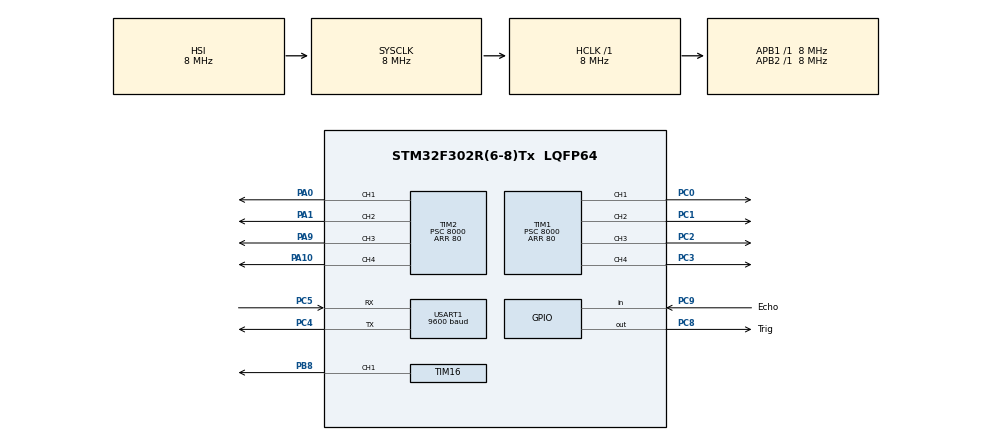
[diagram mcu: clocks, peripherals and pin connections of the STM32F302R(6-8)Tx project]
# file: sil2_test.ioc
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Mcu.Family=STM32F3
Mcu.Name=STM32F302R(6-8)Tx
Mcu.Package=LQFP64
NVIC.PriorityGroup=NVIC_PRIORITYGROUP_4
PA0.Signal=S_TIM2_CH1_ETR
PA1.Signal=S_TIM2_CH2
PA10.Signal=S_TIM2_CH4
PA9.Signal=S_TIM2_CH3
PB8.Signal=S_TIM16_CH1
PC0.Signal=S_TIM1_CH1
PC1.Signal=S_TIM1_CH2
PC2.Signal=S_TIM1_CH3
PC3.Signal=S_TIM1_CH4
PC4.Mode=Asynchronous
PC4.Signal=USART1_TX
PC5.Mode=Asynchronous
PC5.Signal=USART1_RX
PC8.GPIO_Label=Trig
PC8.Signal=GPIO_Output
PC9.GPIO_Label=Echo
PC9.Signal=GPIO_Input
ProjectManager.HeapSize=0x200
ProjectManager.StackSize=0x400
ProjectManager.TargetToolchain=STM32CubeIDE
RCC.AHBFreq_Value=8000000
RCC.APB1Freq_Value=8000000
RCC.APB2Freq_Value=8000000
RCC.CortexFreq_Value=8000000
RCC.HSE_VALUE=8000000
RCC.HSI_VALUE=8000000
RCC.LSE_VALUE=32768
RCC.SYSCLKFreq_VALUE=8000000
SH.S_TIM16_CH1.0=TIM16_CH1,PWM Generation1 CH1
SH.S_TIM1_CH1.0=TIM1_CH1,PWM Generation1 CH1
SH.S_TIM1_CH2.0=TIM1_CH2,PWM Generation2 CH2
SH.S_TIM1_CH3.0=TIM1_CH3,PWM Generation3 CH3
SH.S_TIM1_CH4.0=TIM1_CH4,PWM Generation4 CH4
SH.S_TIM2_CH1_ETR.0=TIM2_CH1,PWM Generation1 CH1
SH.S_TIM2_CH2.0=TIM2_CH2,PWM Generation2 CH2
SH.S_TIM2_CH3.0=TIM2_CH3,PWM Generation3 CH3
SH.S_TIM2_CH4.0=TIM2_CH4,PWM Generation4 CH4
TIM1.Channel-PWM\ Generation1\ CH1=TIM_CHANNEL_1
TIM1.Channel-PWM\ Generation2\ CH2=TIM_CHANNEL_2
TIM1.Channel-PWM\ Generation3\ CH3=TIM_CHANNEL_3
TIM1.Channel-PWM\ Generation4\ CH4=TIM_CHANNEL_4
TIM1.Period=80
TIM1.Prescaler=8000
TIM15.Prescaler=7
TIM16.Channel=TIM_CHANNEL_1
TIM16.Period=1000
TIM16.Prescaler=159
TIM2.Channel-PWM\ Generation1\ CH1=TIM_CHANNEL_1
TIM2.Channel-PWM\ Generation2\ CH2=TIM_CHANNEL_2
TIM2.Channel-PWM\ Generation3\ CH3=TIM_CHANNEL_3
TIM2.Channel-PWM\ Generation4\ CH4=TIM_CHANNEL_4
TIM2.Period=80
TIM2.Prescaler=8000
USART1.BaudRate=9600
USART1.VirtualMode-Asynchronous=VM_ASYNC
VP_TIM15_VS_ClockSourceINT.Mode=Internal
VP_TIM16_VS_ClockSourceINT.Mode=Enable_Timer
VP_TIM1_VS_ClockSourceINT.Mode=Internal
VP_TIM2_VS_ClockSourceINT.Mode=Internal
board=custom

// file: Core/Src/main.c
/* USER CODE BEGIN Header */
/**
 ******************************************************************************
 * @file           : main.c
 * @brief          : Main program body
 ******************************************************************************
 * @attention
 *
 * Copyright (c) 2024 STMicroelectronics.
 * All rights reserved.
 *
 * This software is licensed under terms that can be found in the LICENSE file
 * in the root directory of this software component.
 * If no LICENSE file comes with this software, it is provided AS-IS.
 *
 ******************************************************************************
 */
/* USER CODE END Header */
#include "main.h"

TIM_HandleTypeDef htim1;
TIM_HandleTypeDef htim2;
TIM_HandleTypeDef htim15;
TIM_HandleTypeDef htim16;

UART_HandleTypeDef huart1;

void SystemClock_Config(void);
static void MX_GPIO_Init(void);
static void MX_TIM2_Init(void);
static void MX_TIM1_Init(void);
static void MX_TIM16_Init(void);
static void MX_USART1_UART_Init(void);
static void MX_TIM15_Init(void);

/* USER CODE BEGIN 0 */
void delay_us(uint32_t us) {
	uint32_t start = __HAL_TIM_GET_COUNTER(&htim15);
	while ((__HAL_TIM_GET_COUNTER(&htim15) - start) < us)
		;
}
uint32_t local_time, sensor_time, distance;

uint32_t hcsr04_read() {
	HAL_GPIO_WritePin(Trig_GPIO_Port, Trig_Pin, GPIO_PIN_RESET);
	delay_us(2);
	HAL_GPIO_WritePin(Trig_GPIO_Port, Trig_Pin, GPIO_PIN_SET);
	delay_us(10);
	HAL_GPIO_WritePin(Trig_GPIO_Port, Trig_Pin, GPIO_PIN_RESET);
	while (HAL_GPIO_ReadPin(Echo_GPIO_Port, Echo_Pin) == GPIO_PIN_RESET)
		;
	local_time = __HAL_TIM_GET_COUNTER(&htim15);
	while (HAL_GPIO_ReadPin(Echo_GPIO_Port, Echo_Pin) == GPIO_PIN_SET)
		;
	sensor_time = __HAL_TIM_GET_COUNTER(&htim15) - local_time;
	return sensor_time * 0.0340 / 2;
}

/* USER CODE END 0 */

int main(void) {

	/* MCU Configuration--------------------------------------------------------*/

	/* Reset of all peripherals, Initializes the Flash interface and the Systick. */
	HAL_Init();

	/* Configure the system clock */
	SystemClock_Config();

	/* Initialize all configured peripherals */
	MX_GPIO_Init();
	MX_TIM2_Init();
	MX_TIM1_Init();
	MX_TIM16_Init();
	MX_USART1_UART_Init();
	MX_TIM15_Init();
	/* USER CODE BEGIN 2 */
	HAL_TIM_PWM_Start(&htim1, TIM_CHANNEL_1);
	HAL_TIM_PWM_Start(&htim1, TIM_CHANNEL_2);
	HAL_TIM_PWM_Start(&htim1, TIM_CHANNEL_3);
	HAL_TIM_PWM_Start(&htim1, TIM_CHANNEL_4);

	HAL_TIM_PWM_Start(&htim2, TIM_CHANNEL_1);
	HAL_TIM_PWM_Start(&htim2, TIM_CHANNEL_2);
	HAL_TIM_PWM_Start(&htim2, TIM_CHANNEL_3);
	HAL_TIM_PWM_Start(&htim2, TIM_CHANNEL_4);
	HAL_TIM_PWM_Start(&htim16, TIM_CHANNEL_1);

	// __HAL_TIM_SET_COMPARE(&htim1,TIM_CHANNEL_3,0);
	//__HAL_TIM_SET_COMPARE(&htim1,TIM_CHANNEL_4,0);
	//__HAL_TIM_SET_COMPARE(&htim2,TIM_CHANNEL_1,70);
	//__HAL_TIM_SET_COMPARE(&htim2,TIM_CHANNEL_2,0);
	// __HAL_TIM_SET_COMPARE(&htim16,TIM_CHANNEL_1,60);

	HAL_TIM_Base_Start(&htim15);
	uint8_t buffer[20];
	int kier = 1;
	distance=20;
	/* USER CODE END 2 */

	/* Infinite loop */
	/* USER CODE BEGIN WHILE */
	while (1) {
	//	distance = hcsr04_read();
		if (distance < 0) {
			__HAL_TIM_SET_COMPARE(&htim1, TIM_CHANNEL_2, 80);
			__HAL_TIM_SET_COMPARE(&htim1, TIM_CHANNEL_1, 0);

			__HAL_TIM_SET_COMPARE(&htim1, TIM_CHANNEL_3, 80);
			__HAL_TIM_SET_COMPARE(&htim1, TIM_CHANNEL_4, 0);

			__HAL_TIM_SET_COMPARE(&htim2, TIM_CHANNEL_1, 80);
			__HAL_TIM_SET_COMPARE(&htim2, TIM_CHANNEL_2, 0);

			__HAL_TIM_SET_COMPARE(&htim2, TIM_CHANNEL_3, 80);
			__HAL_TIM_SET_COMPARE(&htim2, TIM_CHANNEL_4, 0);
			HAL_Delay(1000);
			//distance = hcsr04_read();
			__HAL_TIM_SET_COMPARE(&htim1, TIM_CHANNEL_2, 0);
			__HAL_TIM_SET_COMPARE(&htim1, TIM_CHANNEL_1, 0);

			__HAL_TIM_SET_COMPARE(&htim1, TIM_CHANNEL_3, 0);
			__HAL_TIM_SET_COMPARE(&htim1, TIM_CHANNEL_4, 0);

			__HAL_TIM_SET_COMPARE(&htim2, TIM_CHANNEL_1, 0);
			__HAL_TIM_SET_COMPARE(&htim2, TIM_CHANNEL_2, 0);

			__HAL_TIM_SET_COMPARE(&htim2, TIM_CHANNEL_3, 0);
			__HAL_TIM_SET_COMPARE(&htim2, TIM_CHANNEL_4, 0);
		}
		/* USER CODE END WHILE */
		buffer[0] = 0;
		HAL_UART_Receive(&huart1, buffer, 1, 200);
		switch (buffer[0]) {
		case 'w':

			__HAL_TIM_SET_COMPARE(&htim1, TIM_CHANNEL_2, 0);
			__HAL_TIM_SET_COMPARE(&htim1, TIM_CHANNEL_1, 80);

			__HAL_TIM_SET_COMPARE(&htim1, TIM_CHANNEL_3, 0);
			__HAL_TIM_SET_COMPARE(&htim1, TIM_CHANNEL_4, 80);

			__HAL_TIM_SET_COMPARE(&htim2, TIM_CHANNEL_1, 0);
			__HAL_TIM_SET_COMPARE(&htim2, TIM_CHANNEL_2, 80);

			__HAL_TIM_SET_COMPARE(&htim2, TIM_CHANNEL_3, 0);
			__HAL_TIM_SET_COMPARE(&htim2, TIM_CHANNEL_4, 80);

		//	__HAL_TIM_SET_COMPARE(&htim16, TIM_CHANNEL_1, 60);
			kier = 1;
			break;
		case 's':
			__HAL_TIM_SET_COMPARE(&htim1, TIM_CHANNEL_2, 80);
			__HAL_TIM_SET_COMPARE(&htim1, TIM_CHANNEL_1, 0);

			__HAL_TIM_SET_COMPARE(&htim1, TIM_CHANNEL_3, 80);
			__HAL_TIM_SET_COMPARE(&htim1, TIM_CHANNEL_4, 0);

			__HAL_TIM_SET_COMPARE(&htim2, TIM_CHANNEL_1, 80);
			__HAL_TIM_SET_COMPARE(&htim2, TIM_CHANNEL_2, 0);

			__HAL_TIM_SET_COMPARE(&htim2, TIM_CHANNEL_3, 80);
			__HAL_TIM_SET_COMPARE(&htim2, TIM_CHANNEL_4, 0);
			kier = 0;
			break;
		case 'd':
			//__HAL_TIM_SET_COMPARE(&htim16, TIM_CHANNEL_1, 20);
			if (kier) {
				__HAL_TIM_SET_COMPARE(&htim1, TIM_CHANNEL_2, 0);
				__HAL_TIM_SET_COMPARE(&htim1, TIM_CHANNEL_1, 80);

				__HAL_TIM_SET_COMPARE(&htim1, TIM_CHANNEL_3, 0);
				__HAL_TIM_SET_COMPARE(&htim1, TIM_CHANNEL_4, 20);

				__HAL_TIM_SET_COMPARE(&htim2, TIM_CHANNEL_1, 0);
				__HAL_TIM_SET_COMPARE(&htim2, TIM_CHANNEL_2, 20);

				__HAL_TIM_SET_COMPARE(&htim2, TIM_CHANNEL_3, 0);
				__HAL_TIM_SET_COMPARE(&htim2, TIM_CHANNEL_4, 80);
			} else {
				__HAL_TIM_SET_COMPARE(&htim1, TIM_CHANNEL_2, 80);
				__HAL_TIM_SET_COMPARE(&htim1, TIM_CHANNEL_1, 0);

				__HAL_TIM_SET_COMPARE(&htim1, TIM_CHANNEL_3, 20);
				__HAL_TIM_SET_COMPARE(&htim1, TIM_CHANNEL_4, 0);

				__HAL_TIM_SET_COMPARE(&htim2, TIM_CHANNEL_1, 20);
				__HAL_TIM_SET_COMPARE(&htim2, TIM_CHANNEL_2, 0);

				__HAL_TIM_SET_COMPARE(&htim2, TIM_CHANNEL_3, 80);
				__HAL_TIM_SET_COMPARE(&htim2, TIM_CHANNEL_4, 0);
			}

			break;
		case 'a':
			//__HAL_TIM_SET_COMPARE(&htim16, TIM_CHANNEL_1, 120);
			if (kier) {
				__HAL_TIM_SET_COMPARE(&htim1, TIM_CHANNEL_2, 0);
				__HAL_TIM_SET_COMPARE(&htim1, TIM_CHANNEL_1, 20);

				__HAL_TIM_SET_COMPARE(&htim1, TIM_CHANNEL_3, 0);
				__HAL_TIM_SET_COMPARE(&htim1, TIM_CHANNEL_4, 50);

				__HAL_TIM_SET_COMPARE(&htim2, TIM_CHANNEL_1, 0);
				__HAL_TIM_SET_COMPARE(&htim2, TIM_CHANNEL_2, 80);

				__HAL_TIM_SET_COMPARE(&htim2, TIM_CHANNEL_3, 0);
				__HAL_TIM_SET_COMPARE(&htim2, TIM_CHANNEL_4, 20);
			} else {
				__HAL_TIM_SET_COMPARE(&htim1, TIM_CHANNEL_2, 20);
				__HAL_TIM_SET_COMPARE(&htim1, TIM_CHANNEL_1, 0);

				__HAL_TIM_SET_COMPARE(&htim1, TIM_CHANNEL_3, 80);
				__HAL_TIM_SET_COMPARE(&htim1, TIM_CHANNEL_4, 0);

				__HAL_TIM_SET_COMPARE(&htim2, TIM_CHANNEL_1, 80);
				__HAL_TIM_SET_COMPARE(&htim2, TIM_CHANNEL_2, 0);

				__HAL_TIM_SET_COMPARE(&htim2, TIM_CHANNEL_3, 20);
				__HAL_TIM_SET_COMPARE(&htim2, TIM_CHANNEL_4, 0);
			}
			break;
		case 'p':
			__HAL_TIM_SET_COMPARE(&htim1, TIM_CHANNEL_2, 0);
			__HAL_TIM_SET_COMPARE(&htim1, TIM_CHANNEL_1, 0);

			__HAL_TIM_SET_COMPARE(&htim1, TIM_CHANNEL_3, 0);
			__HAL_TIM_SET_COMPARE(&htim1, TIM_CHANNEL_4, 0);

			__HAL_TIM_SET_COMPARE(&htim2, TIM_CHANNEL_1, 0);
			__HAL_TIM_SET_COMPARE(&htim2, TIM_CHANNEL_2, 0);

			__HAL_TIM_SET_COMPARE(&htim2, TIM_CHANNEL_3, 0);
			__HAL_TIM_SET_COMPARE(&htim2, TIM_CHANNEL_4, 0);
			break;
		}

	}
}

void SystemClock_Config(void) {
	RCC_OscInitTypeDef RCC_OscInitStruct = { 0 };
	RCC_ClkInitTypeDef RCC_ClkInitStruct = { 0 };
	RCC_PeriphCLKInitTypeDef PeriphClkInit = { 0 };

	/** Initializes the RCC Oscillators according to the specified parameters
	 * in the RCC_OscInitTypeDef structure.
	 */
	RCC_OscInitStruct.OscillatorType = RCC_OSCILLATORTYPE_HSI;
	RCC_OscInitStruct.HSIState = RCC_HSI_ON;
	RCC_OscInitStruct.HSICalibrationValue = RCC_HSICALIBRATION_DEFAULT;
	RCC_OscInitStruct.PLL.PLLState = RCC_PLL_NONE;
	if (HAL_RCC_OscConfig(&RCC_OscInitStruct) != HAL_OK) {
		Error_Handler();
	}

	/** Initializes the CPU, AHB and APB buses clocks
	 */
	RCC_ClkInitStruct.ClockType = RCC_CLOCKTYPE_HCLK | RCC_CLOCKTYPE_SYSCLK
			| RCC_CLOCKTYPE_PCLK1 | RCC_CLOCKTYPE_PCLK2;
	RCC_ClkInitStruct.SYSCLKSource = RCC_SYSCLKSOURCE_HSI;
	RCC_ClkInitStruct.AHBCLKDivider = RCC_SYSCLK_DIV1;
	RCC_ClkInitStruct.APB1CLKDivider = RCC_HCLK_DIV1;
	RCC_ClkInitStruct.APB2CLKDivider = RCC_HCLK_DIV1;

	if (HAL_RCC_ClockConfig(&RCC_ClkInitStruct, FLASH_LATENCY_0) != HAL_OK) {
		Error_Handler();
	}
	PeriphClkInit.PeriphClockSelection = RCC_PERIPHCLK_USART1
			| RCC_PERIPHCLK_TIM1 | RCC_PERIPHCLK_TIM15 | RCC_PERIPHCLK_TIM16;
	PeriphClkInit.Usart1ClockSelection = RCC_USART1CLKSOURCE_PCLK1;
	PeriphClkInit.Tim1ClockSelection = RCC_TIM1CLK_HCLK;
	PeriphClkInit.Tim15ClockSelection = RCC_TIM15CLK_HCLK;
	PeriphClkInit.Tim16ClockSelection = RCC_TIM16CLK_HCLK;
	if (HAL_RCCEx_PeriphCLKConfig(&PeriphClkInit) != HAL_OK) {
		Error_Handler();
	}
}

static void MX_TIM1_Init(void) {

	TIM_ClockConfigTypeDef sClockSourceConfig = { 0 };
	TIM_MasterConfigTypeDef sMasterConfig = { 0 };
	TIM_OC_InitTypeDef sConfigOC = { 0 };
	TIM_BreakDeadTimeConfigTypeDef sBreakDeadTimeConfig = { 0 };

	htim1.Instance = TIM1;
	htim1.Init.Prescaler = 8000;
	htim1.Init.CounterMode = TIM_COUNTERMODE_UP;
	htim1.Init.Period = 80;
	htim1.Init.ClockDivision = TIM_CLOCKDIVISION_DIV1;
	htim1.Init.RepetitionCounter = 0;
	htim1.Init.AutoReloadPreload = TIM_AUTORELOAD_PRELOAD_DISABLE;
	if (HAL_TIM_Base_Init(&htim1) != HAL_OK) {
		Error_Handler();
	}
	sClockSourceConfig.ClockSource = TIM_CLOCKSOURCE_INTERNAL;
	if (HAL_TIM_ConfigClockSource(&htim1, &sClockSourceConfig) != HAL_OK) {
		Error_Handler();
	}
	if (HAL_TIM_PWM_Init(&htim1) != HAL_OK) {
		Error_Handler();
	}
	sMasterConfig.MasterOutputTrigger = TIM_TRGO_RESET;
	sMasterConfig.MasterOutputTrigger2 = TIM_TRGO2_RESET;
	sMasterConfig.MasterSlaveMode = TIM_MASTERSLAVEMODE_DISABLE;
	if (HAL_TIMEx_MasterConfigSynchronization(&htim1, &sMasterConfig)
			!= HAL_OK) {
		Error_Handler();
	}
	sConfigOC.OCMode = TIM_OCMODE_PWM1;
	sConfigOC.Pulse = 0;
	sConfigOC.OCPolarity = TIM_OCPOLARITY_HIGH;
	sConfigOC.OCNPolarity = TIM_OCNPOLARITY_HIGH;
	sConfigOC.OCFastMode = TIM_OCFAST_DISABLE;
	sConfigOC.OCIdleState = TIM_OCIDLESTATE_RESET;
	sConfigOC.OCNIdleState = TIM_OCNIDLESTATE_RESET;
	if (HAL_TIM_PWM_ConfigChannel(&htim1, &sConfigOC, TIM_CHANNEL_1)
			!= HAL_OK) {
		Error_Handler();
	}
	if (HAL_TIM_PWM_ConfigChannel(&htim1, &sConfigOC, TIM_CHANNEL_2)
			!= HAL_OK) {
		Error_Handler();
	}
	if (HAL_TIM_PWM_ConfigChannel(&htim1, &sConfigOC, TIM_CHANNEL_3)
			!= HAL_OK) {
		Error_Handler();
	}
	if (HAL_TIM_PWM_ConfigChannel(&htim1, &sConfigOC, TIM_CHANNEL_4)
			!= HAL_OK) {
		Error_Handler();
	}
	sBreakDeadTimeConfig.OffStateRunMode = TIM_OSSR_DISABLE;
	sBreakDeadTimeConfig.OffStateIDLEMode = TIM_OSSI_DISABLE;
	sBreakDeadTimeConfig.LockLevel = TIM_LOCKLEVEL_OFF;
	sBreakDeadTimeConfig.DeadTime = 0;
	sBreakDeadTimeConfig.BreakState = TIM_BREAK_DISABLE;
	sBreakDeadTimeConfig.BreakPolarity = TIM_BREAKPOLARITY_HIGH;
	sBreakDeadTimeConfig.BreakFilter = 0;
	sBreakDeadTimeConfig.Break2State = TIM_BREAK2_DISABLE;
	sBreakDeadTimeConfig.Break2Polarity = TIM_BREAK2POLARITY_HIGH;
	sBreakDeadTimeConfig.Break2Filter = 0;
	sBreakDeadTimeConfig.AutomaticOutput = TIM_AUTOMATICOUTPUT_DISABLE;
	if (HAL_TIMEx_ConfigBreakDeadTime(&htim1, &sBreakDeadTimeConfig)
			!= HAL_OK) {
		Error_Handler();
	}
	HAL_TIM_MspPostInit(&htim1);

}

static void MX_TIM2_Init(void) {

	TIM_ClockConfigTypeDef sClockSourceConfig = { 0 };
	TIM_MasterConfigTypeDef sMasterConfig = { 0 };
	TIM_OC_InitTypeDef sConfigOC = { 0 };

	htim2.Instance = TIM2;
	htim2.Init.Prescaler = 8000;
	htim2.Init.CounterMode = TIM_COUNTERMODE_UP;
	htim2.Init.Period = 80;
	htim2.Init.ClockDivision = TIM_CLOCKDIVISION_DIV1;
	htim2.Init.AutoReloadPreload = TIM_AUTORELOAD_PRELOAD_DISABLE;
	if (HAL_TIM_Base_Init(&htim2) != HAL_OK) {
		Error_Handler();
	}
	sClockSourceConfig.ClockSource = TIM_CLOCKSOURCE_INTERNAL;
	if (HAL_TIM_ConfigClockSource(&htim2, &sClockSourceConfig) != HAL_OK) {
		Error_Handler();
	}
	if (HAL_TIM_PWM_Init(&htim2) != HAL_OK) {
		Error_Handler();
	}
	sMasterConfig.MasterOutputTrigger = TIM_TRGO_RESET;
	sMasterConfig.MasterSlaveMode = TIM_MASTERSLAVEMODE_DISABLE;
	if (HAL_TIMEx_MasterConfigSynchronization(&htim2, &sMasterConfig)
			!= HAL_OK) {
		Error_Handler();
	}
	sConfigOC.OCMode = TIM_OCMODE_PWM1;
	sConfigOC.Pulse = 0;
	sConfigOC.OCPolarity = TIM_OCPOLARITY_HIGH;
	sConfigOC.OCFastMode = TIM_OCFAST_DISABLE;
	if (HAL_TIM_PWM_ConfigChannel(&htim2, &sConfigOC, TIM_CHANNEL_1)
			!= HAL_OK) {
		Error_Handler();
	}
	if (HAL_TIM_PWM_ConfigChannel(&htim2, &sConfigOC, TIM_CHANNEL_2)
			!= HAL_OK) {
		Error_Handler();
	}
	if (HAL_TIM_PWM_ConfigChannel(&htim2, &sConfigOC, TIM_CHANNEL_3)
			!= HAL_OK) {
		Error_Handler();
	}
	if (HAL_TIM_PWM_ConfigChannel(&htim2, &sConfigOC, TIM_CHANNEL_4)
			!= HAL_OK) {
		Error_Handler();
	}
	HAL_TIM_MspPostInit(&htim2);

}

static void MX_TIM15_Init(void) {

	TIM_ClockConfigTypeDef sClockSourceConfig = { 0 };
	TIM_MasterConfigTypeDef sMasterConfig = { 0 };

	htim15.Instance = TIM15;
	htim15.Init.Prescaler = 7;
	htim15.Init.CounterMode = TIM_COUNTERMODE_UP;
	htim15.Init.Period = 65535;
	htim15.Init.ClockDivision = TIM_CLOCKDIVISION_DIV1;
	htim15.Init.RepetitionCounter = 0;
	htim15.Init.AutoReloadPreload = TIM_AUTORELOAD_PRELOAD_DISABLE;
	if (HAL_TIM_Base_Init(&htim15) != HAL_OK) {
		Error_Handler();
	}
	sClockSourceConfig.ClockSource = TIM_CLOCKSOURCE_INTERNAL;
	if (HAL_TIM_ConfigClockSource(&htim15, &sClockSourceConfig) != HAL_OK) {
		Error_Handler();
	}
	sMasterConfig.MasterOutputTrigger = TIM_TRGO_RESET;
	sMasterConfig.MasterSlaveMode = TIM_MASTERSLAVEMODE_DISABLE;
	if (HAL_TIMEx_MasterConfigSynchronization(&htim15, &sMasterConfig)
			!= HAL_OK) {
		Error_Handler();
	}

}

static void MX_TIM16_Init(void) {

	TIM_OC_InitTypeDef sConfigOC = { 0 };
	TIM_BreakDeadTimeConfigTypeDef sBreakDeadTimeConfig = { 0 };

	htim16.Instance = TIM16;
	htim16.Init.Prescaler = 159;
	htim16.Init.CounterMode = TIM_COUNTERMODE_UP;
	htim16.Init.Period = 1000;
	htim16.Init.ClockDivision = TIM_CLOCKDIVISION_DIV1;
	htim16.Init.RepetitionCounter = 0;
	htim16.Init.AutoReloadPreload = TIM_AUTORELOAD_PRELOAD_DISABLE;
	if (HAL_TIM_Base_Init(&htim16) != HAL_OK) {
		Error_Handler();
	}
	if (HAL_TIM_PWM_Init(&htim16) != HAL_OK) {
		Error_Handler();
	}
	sConfigOC.OCMode = TIM_OCMODE_PWM1;
	sConfigOC.Pulse = 0;
	sConfigOC.OCPolarity = TIM_OCPOLARITY_HIGH;
	sConfigOC.OCNPolarity = TIM_OCNPOLARITY_HIGH;
	sConfigOC.OCFastMode = TIM_OCFAST_DISABLE;
	sConfigOC.OCIdleState = TIM_OCIDLESTATE_RESET;
	sConfigOC.OCNIdleState = TIM_OCNIDLESTATE_RESET;
	if (HAL_TIM_PWM_ConfigChannel(&htim16, &sConfigOC, TIM_CHANNEL_1)
			!= HAL_OK) {
		Error_Handler();
	}
	sBreakDeadTimeConfig.OffStateRunMode = TIM_OSSR_DISABLE;
	sBreakDeadTimeConfig.OffStateIDLEMode = TIM_OSSI_DISABLE;
	sBreakDeadTimeConfig.LockLevel = TIM_LOCKLEVEL_OFF;
	sBreakDeadTimeConfig.DeadTime = 0;
	sBreakDeadTimeConfig.BreakState = TIM_BREAK_DISABLE;
	sBreakDeadTimeConfig.BreakPolarity = TIM_BREAKPOLARITY_HIGH;
	sBreakDeadTimeConfig.BreakFilter = 0;
	sBreakDeadTimeConfig.AutomaticOutput = TIM_AUTOMATICOUTPUT_DISABLE;
	if (HAL_TIMEx_ConfigBreakDeadTime(&htim16, &sBreakDeadTimeConfig)
			!= HAL_OK) {
		Error_Handler();
	}
	HAL_TIM_MspPostInit(&htim16);

}

static void MX_USART1_UART_Init(void) {

	huart1.Instance = USART1;
	huart1.Init.BaudRate = 9600;
	huart1.Init.WordLength = UART_WORDLENGTH_8B;
	huart1.Init.StopBits = UART_STOPBITS_1;
	huart1.Init.Parity = UART_PARITY_NONE;
	huart1.Init.Mode = UART_MODE_TX_RX;
	huart1.Init.HwFlowCtl = UART_HWCONTROL_NONE;
	huart1.Init.OverSampling = UART_OVERSAMPLING_16;
	huart1.Init.OneBitSampling = UART_ONE_BIT_SAMPLE_DISABLE;
	huart1.AdvancedInit.AdvFeatureInit = UART_ADVFEATURE_NO_INIT;
	if (HAL_UART_Init(&huart1) != HAL_OK) {
		Error_Handler();
	}

}

static void MX_GPIO_Init(void) {
	GPIO_InitTypeDef GPIO_InitStruct = { 0 };

	/* GPIO Ports Clock Enable */
	__HAL_RCC_GPIOC_CLK_ENABLE();
	__HAL_RCC_GPIOA_CLK_ENABLE();
	__HAL_RCC_GPIOB_CLK_ENABLE();

	/*Configure GPIO pin Output Level */
	HAL_GPIO_WritePin(Trig_GPIO_Port, Trig_Pin, GPIO_PIN_RESET);

	/*Configure GPIO pin : Trig_Pin */
	GPIO_InitStruct.Pin = Trig_Pin;
	GPIO_InitStruct.Mode = GPIO_MODE_OUTPUT_PP;
	GPIO_InitStruct.Pull = GPIO_NOPULL;
	GPIO_InitStruct.Speed = GPIO_SPEED_FREQ_LOW;
	HAL_GPIO_Init(Trig_GPIO_Port, &GPIO_InitStruct);

	/*Configure GPIO pin : Echo_Pin */
	GPIO_InitStruct.Pin = Echo_Pin;
	GPIO_InitStruct.Mode = GPIO_MODE_INPUT;
	GPIO_InitStruct.Pull = GPIO_NOPULL;
	HAL_GPIO_Init(Echo_GPIO_Port, &GPIO_InitStruct);

}

void Error_Handler(void) {
	__disable_irq();
	while (1) {
	}
}
